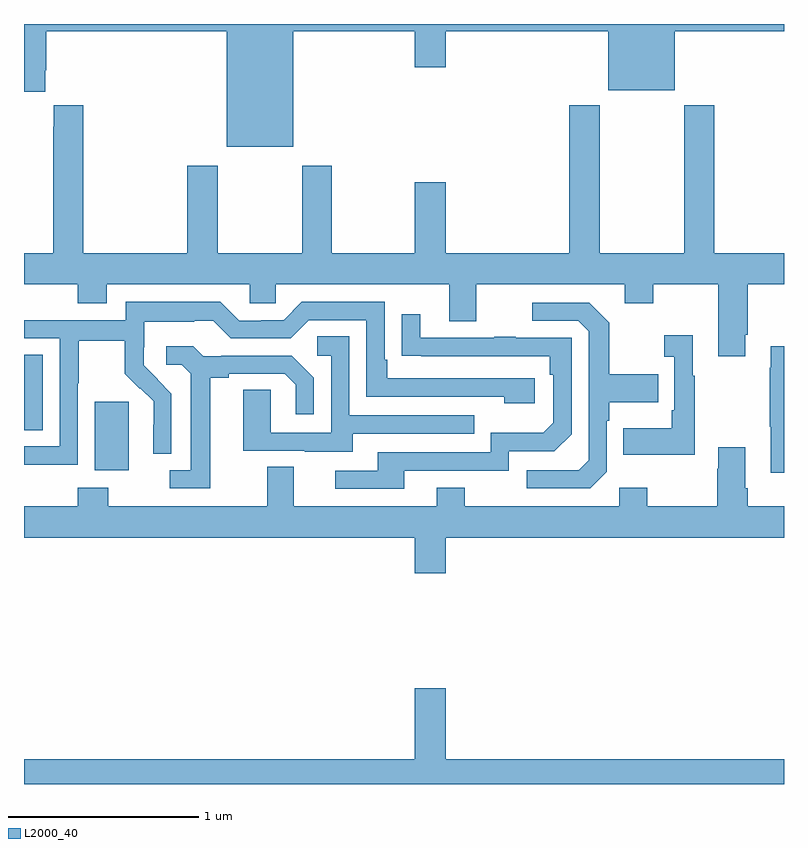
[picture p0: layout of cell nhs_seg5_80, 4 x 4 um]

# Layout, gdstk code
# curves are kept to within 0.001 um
import gdstk
lib = gdstk.Library(unit=1e-6, precision=1e-09)
def R(c, l, rs):  # rectangles x0, y0, x1, y1
    for r in rs: c.add(gdstk.rectangle(r[:2], r[2:], *l))
def P(c, l, *ps):  # polygons
    for p in ps: c.add(gdstk.Polygon(p, *l))
L2000_40 = (2000, 40)

nhs_seg5_80 = lib.new_cell('nhs_seg5_80')
R(nhs_seg5_80, L2000_40, [(115.373,854.45,115.552,854.811), (115,854.662,115.099,855.059)])
P(nhs_seg5_80, L2000_40, [(116.416,856.76),(117.056,856.76),(117.056,856.572),(117.22,856.572),(117.22,856.76),(118.076,856.76),(118.076,856.451),(118.426,856.451),(118.426,856.76),(119,856.76),(119,856.799),(115,856.799),(115,856.443),(115.111,856.443),(115.111,856.555),(115.118,856.555),(115.118,856.76),(116.066,856.76),(116.066,856.154),(116.416,856.154)],
  [(118.795,855.163),(118.808,855.163),(118.808,855.428),(119,855.428),(119,855.592),(118.634,855.592),(118.634,856.372),(118.474,856.372),(118.474,855.592),(118.029,855.592),(118.029,856.372),(117.869,856.372),(117.869,855.592),(117.22,855.592),(117.22,855.967),(117.056,855.967),(117.056,855.592),(116.619,855.592),(116.619,856.054),(116.464,856.054),(116.464,855.592),(116.019,855.592),(116.019,856.054),(115.859,856.054),(115.859,855.592),(115.313,855.592),(115.313,856.372),(115.157,856.372),(115.157,856.259),(115.153,856.259),(115.153,855.592),(115,855.592),(115,855.428),(115.283,855.428),(115.283,855.329),(115.435,855.329),(115.435,855.428),(116.187,855.428),(116.187,855.33),(116.325,855.33),(116.325,855.428),(117.239,855.428),(117.239,855.234),(117.379,855.234),(117.379,855.428),(118.163,855.428),(118.163,855.329),(118.311,855.329),(118.311,855.428),(118.655,855.428),(118.655,855.051),(118.795,855.051)],
  [(115.284,854.908),(115.287,854.908),(115.287,855.132),(115.531,855.132),(115.531,854.957),(115.608,854.88),(115.611,854.883),(115.682,854.813),(115.682,854.69),(115.68,854.69),(115.68,854.536),(115.776,854.536),(115.776,854.854),(115.63,855.002),(115.63,855.099),(115.632,855.099),(115.632,855.233),(115.895,855.233),(115.895,855.237),(115.995,855.237),(116.088,855.144),(116.403,855.144),(116.499,855.24),(116.802,855.24),(116.802,854.838),(117.527,854.838),(117.527,854.804),(117.688,854.804),(117.688,854.934),(116.911,854.934),(116.911,855.031),(116.898,855.031),(116.898,855.336),(116.463,855.336),(116.367,855.24),(116.249,855.24),(116.249,855.237),(116.133,855.237),(116.033,855.337),(115.536,855.337),(115.536,855.24),(115,855.24),(115,855.144),(115.188,855.144),(115.188,854.577),(115,854.577),(115,854.479),(115.284,854.479)],
  [(118.068,854.442),(118.068,854.711),(118.081,854.711),(118.081,854.807),(118.337,854.807),(118.337,854.955),(118.081,854.955),(118.081,855.227),(117.975,855.333),(117.675,855.333),(117.675,855.237),(117.918,855.237),(117.972,855.183),(117.972,854.502),(117.921,854.451),(117.645,854.451),(117.645,854.355),(117.981,854.355)],
  [(117.001,854.448),(117.552,854.448),(117.552,854.55),(117.792,854.55),(117.882,854.64),(117.882,855.147),(117.587,855.147),(117.587,855.152),(117.475,855.152),(117.475,855.147),(117.085,855.147),(117.085,855.271),(116.989,855.271),(116.989,855.052),(117.766,855.051),(117.766,854.954),(117.786,854.954),(117.786,854.7),(117.733,854.647),(117.456,854.647),(117.456,854.544),(116.861,854.544),(116.861,854.448),(116.637,854.448),(116.637,854.352),(117.001,854.352)],
  [(118.531,854.947),(118.519,854.947),(118.519,855.16),(118.371,855.16),(118.371,855.047),(118.422,855.047),(118.422,854.767),(118.41,854.767),(118.41,854.671),(118.153,854.671),(118.153,854.531),(118.531,854.531)],
  [(116.731,854.643),(117.371,854.643),(117.371,854.739),(116.712,854.739),(116.712,855.155),(116.544,855.155),(116.544,855.054),(116.616,855.054),(116.616,854.649),(116.298,854.649),(116.298,854.873),(116.153,854.873),(116.153,854.553),(116.477,854.553),(116.477,854.549),(116.731,854.549)],
  [(119,855.103),(118.931,855.103),(118.931,854.99),(118.924,854.99),(118.924,854.679),(118.931,854.679),(118.931,854.436),(119,854.436)],
  [(115.981,854.936),(116.077,854.936),(116.077,854.958),(116.372,854.958),(116.429,854.901),(116.429,854.745),(116.526,854.745),(116.526,854.938),(116.41,855.054),(116.038,855.054),(116.038,855.051),(115.944,855.051),(115.892,855.103),(115.749,855.103),(115.749,855.006),(115.83,855.006),(115.877,854.959),(115.877,854.451),(115.767,854.451),(115.767,854.355),(115.981,854.355)],
  [(117.22,854.096),(119,854.096),(119,854.26),(118.808,854.26),(118.808,854.356),(118.795,854.356),(118.795,854.572),(118.655,854.572),(118.655,854.459),(118.648,854.459),(118.648,854.26),(118.281,854.26),(118.281,854.359),(118.134,854.359),(118.134,854.26),(117.321,854.26),(117.321,854.359),(117.173,854.359),(117.173,854.26),(116.419,854.26),(116.419,854.468),(116.279,854.468),(116.279,854.26),(115.443,854.26),(115.443,854.359),(115.283,854.359),(115.283,854.26),(115,854.26),(115,854.096),(117.056,854.096),(117.056,853.908),(117.22,853.908)],
  [(119,852.928),(117.22,852.928),(117.22,853.303),(117.056,853.303),(117.056,852.928),(115,852.928),(115,852.799),(119,852.799)])

lib.write_gds('nhs_seg5_80.gds')
